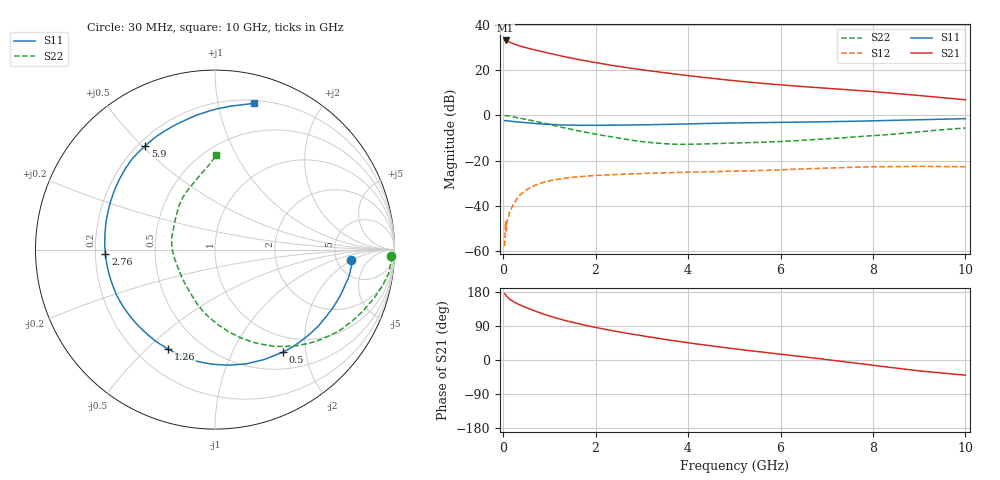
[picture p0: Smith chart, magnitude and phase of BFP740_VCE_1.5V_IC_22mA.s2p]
! Infineon Technologies  Discrete & RF Semiconductors
! BFP740
! VCE =  1.5 V,  IC =  22 mA
! Common Emitter S-Parameters:  Jan 2016
# GHz  S  MA  R  50
!  f  S11  S21  S12  S22
! GHz  MAG  ANG  MAG  ANG  MAG  ANG  MAG  ANG
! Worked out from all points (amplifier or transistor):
!   229 points, 30 MHz to 10 GHz, reference 50 ohm
!   highest |S21| = 33.0 dB at 50 MHz (marker M1)
!   |S21| within 3 dB of that: start of sweep to 456.4 MHz
!   unconditionally stable (mu >= 1): 5.803 GHz to end of sweep
!   at 280 MHz: K = 0.23, MSG = 34.3 dB, |S12| = -37.4 dB
!   at 1.78 GHz: K = 0.47, MSG = 25.4 dB, |S12| = -26.8 dB
!   at 10 GHz: K = 1.05, MAG = 13.4 dB, |S12| = -22.7 dB
!   S11 on the Smith chart (normalised r, x): 30 MHz: 6.87, -1.87; 500 MHz: 0.74, -1.60; 1.26 GHz: 0.33, -0.58; 2.76 GHz: 0.24, -0.02; 5.9 GHz: 0.23, +0.51; 10 GHz: 0.23, +1.28
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0.03  0.7614 -4.3  44.47 175.1  0.0013 97.9  0.9821 -2.1
0.05  0.7663 -6.8  44.75 172.1  0.0045 107.6  0.9855 -4.0
0.08  0.7607 -11.1  43.9 167.5  0.0044 90.3  0.9785 -6.9
0.11  0.7513 -15.1  42.45 163.7  0.0057 80.8  0.9678 -9.5
0.15  0.744 -20.0  40.64 159.6  0.0076 81.5  0.9508 -12.7
0.2  0.7336 -25.7  38.63 155.4  0.0098 77.1  0.9308 -16.3
0.34  0.7089 -40.6  34.2 146.5  0.0166 71.1  0.8762 -25.2
0.5  0.6854 -56.6  30.8 138.1  0.0226 63.4  0.8157 -34.6
0.7  0.6599 -74.8  27.39 128.6  0.0289 54.9  0.7385 -45.1
0.9  0.639 -91.1  24.56 119.9  0.0338 48.5  0.6617 -54.7
1.1  0.623 -105.4  22.02 112.2  0.0376 42.9  0.5927 -63.2
1.26  0.6122 -115.4  20.25 106.8  0.04 39.1  0.5451 -69.2
1.7  0.6017 -138.6  16.47 93.7  0.0448 31.6  0.4391 -84.0
2.2  0.6037 -159.3  13.38 81.0  0.0482 25.3  0.3544 -100.0
2.76  0.611 -177.8  10.94 68.8  0.051 20.1  0.2843 -117.4
3.4  0.627 164.9  8.924 56.2  0.0537 16.0  0.2404 -140.6
4.2  0.6541 147.3  7.099 42.1  0.0564 11.5  0.2318 -169.6
5.1  0.6824 133.0  5.662 28.0  0.059 7.5  0.2473 167.2
5.9  0.6966 123.8  4.779 16.9  0.0621 5.1  0.2612 151.4
6.8  0.7168 113.6  4.079 4.1  0.0674 0.5  0.2941 136.1
8.4  0.7747 91.9  3.094 -20.0  0.0741 -10.7  0.3809 110.1
10  0.8428 75.1  2.2 -39.9  0.0735 -20.0  0.5259 89.3
